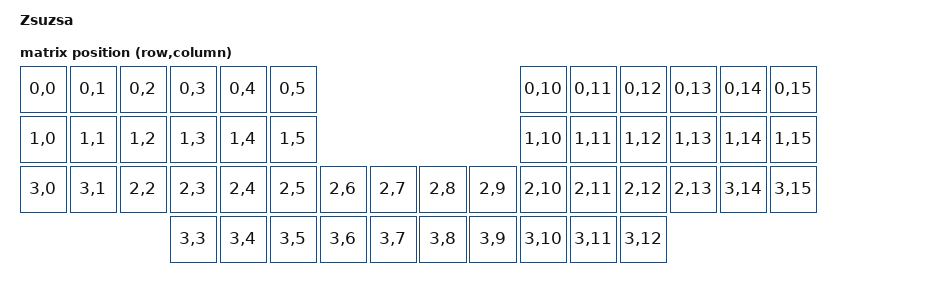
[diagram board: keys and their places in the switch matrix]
/*
 * Copyright (c) 2023 CTDD
 * SPDX-License-Identifier: MIT
 * 
 */
/dts-v1/;
#include <nordic/nrf52840_qiaa.dtsi>
#include <dt-bindings/zmk/matrix_transform.h>
#include "zsuzsa-layouts.dtsi"

&physical_layout0 {
    transform = <&matrix_transform0>;
};

/ {
    model = "Zsuzsa";
    compatible = "zsuzsa";

    chosen {
        zephyr,code-partition = &code_partition;
        zephyr,sram = &sram0;
        zephyr,flash = &flash0;
        zmk,physical-layout = &physical_layout0;
        zmk,kscan = &kscan0;
        //zmk,display = &epd; // uncomment this for display
        //zephyr,console = &cdc_acm_uart;
    };

    matrix_transform0: keymap_transform_0 {
        compatible = "zmk,matrix-transform";
        columns = <16>;
        rows = <4>;
// | MX23 | MX20 | MX17 | MX13 | MX9  | MX5 |                           | MX5 | MX9  | MX13 | MX17 | MX20 | MX23 |
// | MX24 | MX21 | MX18 | MX14 | MX10 | MX6 |                           | MX6 | MX10 | MX14 | MX18 | MX21 | MX24 |
// | MX25 | MX22 | MX19 | MX15 | MX11 | MX7 | MX3 | MX1 |   | MX1 | MX3 | MX7 | MX11 | MX15 | MX19 | MX22 | MX25 |
//                      | MX16 | MX12 | MX8 | MX4 | MX2 |   | MX2 | MX4 | MX8 | MX12 | MX16 |
        map = <
RC(0,0) RC(0,1) RC(0,2) RC(0,3) RC(0,4) RC(0,5)                                 RC(0,10) RC(0,11) RC(0,12) RC(0,13) RC(0,14) RC(0,15)
RC(1,0) RC(1,1) RC(1,2) RC(1,3) RC(1,4) RC(1,5)                                 RC(1,10) RC(1,11) RC(1,12) RC(1,13) RC(1,14) RC(1,15)
RC(3,0) RC(3,1) RC(2,2) RC(2,3) RC(2,4) RC(2,5) RC(2,6) RC(2,7) RC(2,8) RC(2,9) RC(2,10) RC(2,11) RC(2,12) RC(2,13) RC(3,14) RC(3,15)
                        RC(3,3) RC(3,4) RC(3,5) RC(3,6) RC(3,7) RC(3,8) RC(3,9) RC(3,10) RC(3,11) RC(3,12)
        >;
    };
};

&adc {
    status = "okay";
};

&gpiote {
    status = "okay";
};

&gpio0 {
    status = "okay";
};

&gpio1 {
    status = "okay";
};

//&uart0 {
//    compatible = "nordic,nrf-uarte";
//    tx-pin = <6>; // P0.06
//    rx-pin = <8>; // P0.08
//};

zephyr_udc0: &usbd {
    status = "okay";
};


&flash0 {
    /*
     * For more information, see:
     * http://docs.zephyrproject.org/latest/devices/dts/flash_partitions.html // dead link
     * 
     * https://docs.zephyrproject.org/latest/build/dts/api/bindings/mtd/fixed-partitions.html // maybe this new?
     */
    partitions {
        compatible = "fixed-partitions";
        #address-cells = <1>;
        #size-cells = <1>;

        sd_partition: partition@0 {
            label = "softdevice";
            reg = <0x00000000 0x00026000>;
        };
        code_partition: partition@26000 {
            label = "code_partition";
            reg = <0x00026000 0x000c6000>;
        };

        /*
         * The flash starting at 0x000ec000 and ending at
         * 0x000f3fff is reserved for use by the application.
         */

        /*
         * Storage partition will be used by FCB/LittleFS/NVS
         * if enabled.
         */
        storage_partition: partition@ec000 {
            label = "storage";
            reg = <0x000ec000 0x00008000>;
        };

        boot_partition: partition@f4000 {
            label = "adafruit_boot";
            reg = <0x000f4000 0x0000c000>;
        };
    };
};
